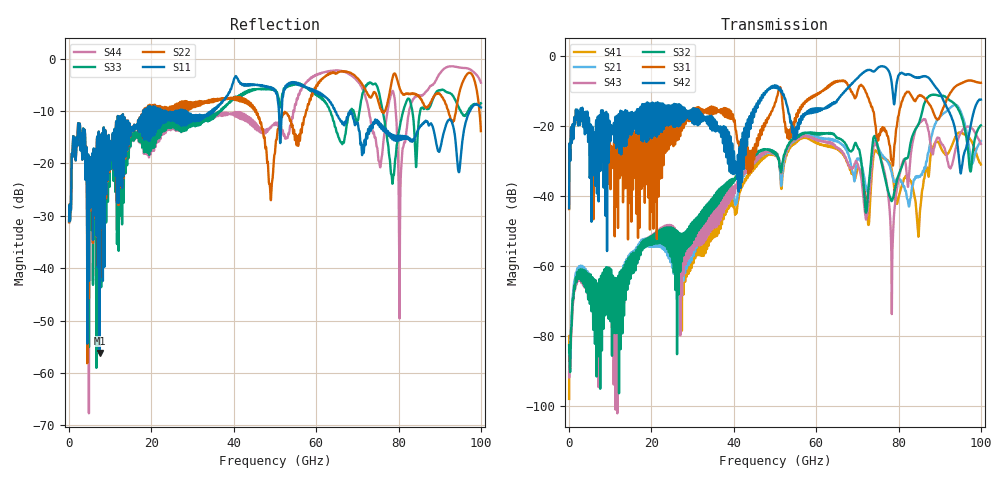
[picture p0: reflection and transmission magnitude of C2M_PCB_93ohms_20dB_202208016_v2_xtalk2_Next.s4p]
! Info: Touchstone file created by Circ.  Input file=Intel_C2M_200G_7p0in_202208016_staggered.circ
# Hz S RI R 50
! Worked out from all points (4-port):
!   10000 points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, 10 MHz to 100 GHz, reference 50 ohm
!   strongest paths, dB at 10 MHz, 25.01 GHz, 50.01 GHz, 75.01 GHz, 100 GHz:
!     S42: -43.5, -16.7, -8.5, -3.4, -12.5
!     S31: -43.8, -20.7, -13.4, -24.1, -7.7
!     S32: -82.6, -57.6, -27.6, -26.1, -19.8
!     S43: -90.4, -53.1, -27.8, -26.8, -25.1
!     S21: -84.0, -60.3, -27.8, -26.0, -24.4
!     S41: -98.1, -54.7, -28.1, -27.8, -31.0
!   lowest |S11| = -56.1 dB at 7.39 GHz (marker M1), VSWR 1.00, Z = 50.1 + j0.0962 ohm
!   |S11| at or under -10 dB: start of sweep to 18 GHz; 28.3 GHz to 34.7 GHz (6.401 GHz wide, 20.3 % of centre); 68.31 GHz to 97.36 GHz (29.05 GHz wide, 35.1 % of centre)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
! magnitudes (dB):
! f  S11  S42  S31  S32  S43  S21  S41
! 10 MHz  -31.0  -43.5  -43.8  -82.6  -90.4  -84.0  -98.1
! 7.39 GHz  -56.1  -16.9  -19.6  -64.2  -68.3  -65.8  -69.2
! 56.38 GHz  -5.1  -17.2  -14.8  -22.3  -22.8  -22.3  -23.1
! 74.54 GHz  -12.2  -3.9  -21.2  -23.9  -25.4  -24.8  -27.2
! 78.41 GHz  -15.0  -8.3  -29.6  -41.4  -66.2  -33.8  -33.0
! 85.22 GHz  -13.0  -6.2  -11.2  -18.2  -19.0  -34.5  -44.2
! 100 GHz  -9.3  -12.5  -7.7  -19.8  -25.1  -24.4  -31.0
